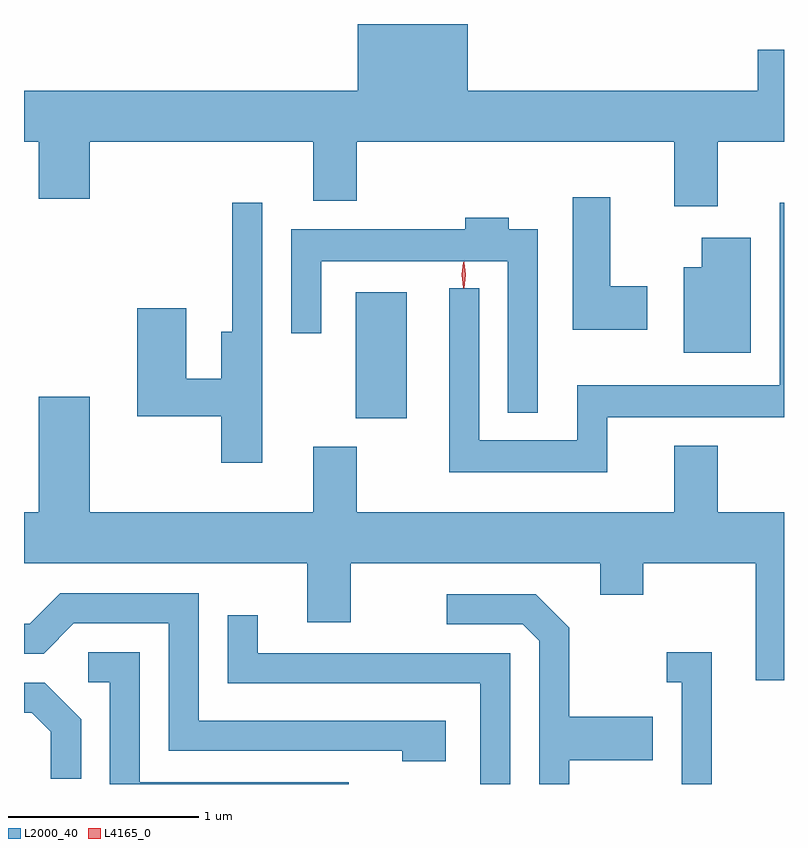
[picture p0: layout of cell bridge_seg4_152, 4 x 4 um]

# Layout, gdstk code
import gdstk
lib = gdstk.Library(unit=1e-6, precision=1e-09)
def R(c, l, rs):  # rectangles x0, y0, x1, y1
    for r in rs: c.add(gdstk.rectangle(r[:2], r[2:], *l))
def P(c, l, *ps):  # polygons
    for p in ps: c.add(gdstk.Polygon(p, *l))
L2000_40 = (2000, 40)
L4165_0 = (4165, 0)

bridge_seg4_152 = lib.new_cell('bridge_seg4_152')
R(bridge_seg4_152, L2000_40, [(916.046,1315.481,916.314,1316.144)])
P(bridge_seg4_152, L2000_40, [(917.949,1316.936),(918.299,1316.936),(918.299,1317.419),(918.161,1317.419),(918.161,1317.204),(916.634,1317.204),(916.634,1317.555),(916.056,1317.555),(916.056,1317.204),(914.299,1317.204),(914.299,1316.936),(914.376,1316.936),(914.376,1316.636),(914.644,1316.636),(914.644,1316.936),(915.821,1316.936),(915.821,1316.626),(916.049,1316.626),(916.049,1316.936),(917.721,1316.936),(917.721,1316.596),(917.949,1316.596)],
  [(917.579,1316.174),(917.384,1316.174),(917.384,1316.644),(917.186,1316.644),(917.186,1315.946),(917.579,1315.946)],
  [(917.369,1315.486),(918.299,1315.486),(918.299,1316.613),(918.276,1316.613),(918.276,1315.654),(917.211,1315.654),(917.211,1315.364),(916.694,1315.364),(916.694,1316.163),(916.536,1316.163),(916.536,1315.196),(917.369,1315.196)],
  [(915.554,1316.613),(915.396,1316.613),(915.396,1315.934),(915.336,1315.934),(915.336,1315.689),(915.154,1315.689),(915.154,1316.059),(914.896,1316.059),(914.896,1315.491),(915.336,1315.491),(915.336,1315.246),(915.554,1315.246)],
  [(917.004,1316.474),(916.849,1316.474),(916.849,1316.534),(916.621,1316.534),(916.621,1316.474),(915.706,1316.474),(915.706,1315.928),(915.864,1315.928),(915.864,1316.306),(916.846,1316.306),(916.846,1315.508),(917.004,1315.508)],
  [(918.124,1316.429),(917.866,1316.429),(917.866,1316.274),(917.771,1316.274),(917.771,1315.826),(918.124,1315.826)],
  [(918.299,1314.984),(917.949,1314.984),(917.949,1315.334),(917.721,1315.334),(917.721,1314.984),(916.049,1314.984),(916.049,1315.329),(915.821,1315.329),(915.821,1314.984),(914.644,1314.984),(914.644,1315.594),(914.376,1315.594),(914.376,1314.984),(914.299,1314.984),(914.299,1314.716),(915.791,1314.716),(915.791,1314.406),(916.019,1314.406),(916.019,1314.716),(917.331,1314.716),(917.331,1314.551),(917.559,1314.551),(917.559,1314.716),(918.151,1314.716),(918.151,1314.101),(918.299,1314.101)],
  [(916.519,1313.889),(915.219,1313.889),(915.219,1314.559),(914.489,1314.559),(914.329,1314.399),(914.299,1314.399),(914.299,1314.241),(914.402,1314.241),(914.562,1314.401),(915.061,1314.401),(915.061,1313.731),(916.291,1313.731),(916.291,1313.676),(916.519,1313.676)],
  [(917.169,1313.681),(917.609,1313.681),(917.609,1313.909),(917.169,1313.909),(917.169,1314.377),(916.992,1314.554),(916.523,1314.554),(916.523,1314.396),(916.924,1314.396),(917.011,1314.309),(917.011,1313.555),(917.169,1313.555)],
  [(916.859,1314.244),(915.529,1314.244),(915.529,1314.443),(915.371,1314.443),(915.371,1314.086),(916.701,1314.086),(916.701,1313.555),(916.859,1313.555)],
  [(916.008,1313.564),(914.909,1313.564),(914.909,1314.249),(914.638,1314.249),(914.638,1314.091),(914.751,1314.091),(914.751,1313.555),(916.008,1313.555)],
  [(917.919,1314.249),(917.683,1314.249),(917.683,1314.091),(917.761,1314.091),(917.761,1313.555),(917.919,1313.555)],
  [(914.599,1313.897),(914.407,1314.089),(914.299,1314.089),(914.299,1313.931),(914.339,1313.931),(914.441,1313.829),(914.441,1313.583),(914.599,1313.583)])
P(bridge_seg4_152, L4165_0, [(916.614,1316.164),(916.605,1316.234),(916.614,1316.302),(916.615,1316.303),(916.615,1316.302),(916.625,1316.234),(916.615,1316.164),(916.615,1316.164)],
  [(916.612,1316.167),(916.603,1316.234),(916.612,1316.3),(916.613,1316.3),(916.613,1316.3),(916.623,1316.234),(916.613,1316.167),(916.613,1316.167)])

lib.write_gds('bridge_seg4_152.gds')
